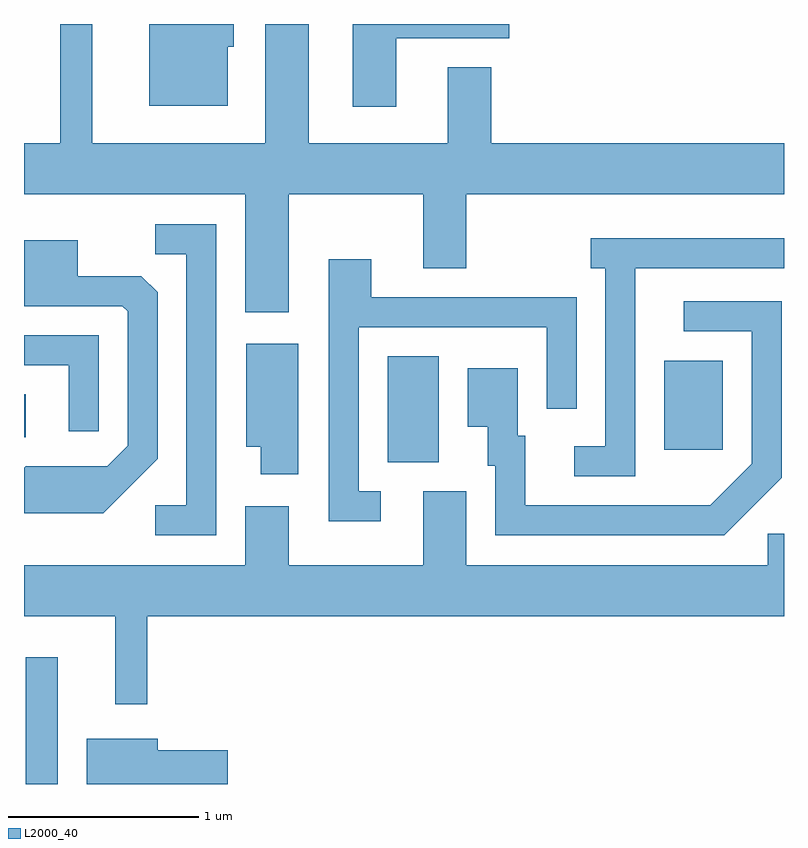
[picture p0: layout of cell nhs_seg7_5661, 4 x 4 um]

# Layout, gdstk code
import gdstk
lib = gdstk.Library(unit=1e-6, precision=1e-09)
def R(c, l, rs):  # rectangles x0, y0, x1, y1
    for r in rs: c.add(gdstk.rectangle(r[:2], r[2:], *l))
def P(c, l, *ps):  # polygons
    for p in ps: c.add(gdstk.Polygon(p, *l))
L2000_40 = (2000, 40)

nhs_seg7_5661 = lib.new_cell('nhs_seg7_5661')
R(nhs_seg7_5661, L2000_40, [(357.621,1782.252,357.789,1782.918), (359.526,1783.946,359.794,1784.504), (360.981,1784.011,361.289,1784.479), (357.611,1784.076,357.619,1784.304)])
P(nhs_seg7_5661, L2000_40, [(359.004,1785.356),(359.711,1785.356),(359.711,1784.966),(359.939,1784.966),(359.939,1785.356),(361.611,1785.356),(361.611,1785.624),(360.069,1785.624),(360.069,1786.024),(359.841,1786.024),(359.841,1785.624),(359.109,1785.624),(359.109,1786.252),(358.881,1786.252),(358.881,1785.624),(357.969,1785.624),(357.969,1786.252),(357.801,1786.252),(357.801,1785.624),(357.611,1785.624),(357.611,1785.356),(358.776,1785.356),(358.776,1784.736),(359.004,1784.736)],
  [(358.684,1786.131),(358.714,1786.131),(358.714,1786.252),(358.271,1786.252),(358.271,1785.821),(358.684,1785.821)],
  [(359.569,1786.176),(360.164,1786.176),(360.164,1786.252),(359.341,1786.252),(359.341,1785.816),(359.569,1785.816)],
  [(358.624,1785.199),(358.303,1785.199),(358.303,1785.041),(358.466,1785.041),(358.466,1783.719),(358.303,1783.719),(358.303,1783.561),(358.624,1783.561)],
  [(360.829,1784.966),(361.611,1784.966),(361.611,1785.124),(360.593,1785.124),(360.593,1784.966),(360.671,1784.966),(360.671,1784.029),(360.508,1784.029),(360.508,1783.871),(360.829,1783.871)],
  [(358.314,1783.964),(358.314,1784.839),(358.229,1784.924),(357.894,1784.924),(357.894,1785.114),(357.611,1785.114),(357.611,1784.766),(358.129,1784.766),(358.156,1784.739),(358.156,1784.032),(358.049,1783.924),(357.619,1783.924),(357.611,1783.916),(357.611,1783.676),(358.027,1783.676)],
  [(359.488,1783.794),(359.374,1783.794),(359.374,1784.656),(360.361,1784.656),(360.361,1784.228),(360.519,1784.228),(360.519,1784.814),(359.439,1784.814),(359.439,1785.014),(359.216,1785.014),(359.216,1783.636),(359.488,1783.636)],
  [(361.599,1783.864),(361.599,1784.794),(361.083,1784.794),(361.083,1784.636),(361.441,1784.636),(361.441,1783.937),(361.224,1783.719),(360.249,1783.719),(360.249,1784.084),(360.209,1784.084),(360.209,1784.439),(359.946,1784.439),(359.946,1784.131),(360.051,1784.131),(360.051,1783.926),(360.091,1783.926),(360.091,1783.561),(361.297,1783.561)],
  [(358.004,1784.614),(357.611,1784.614),(357.611,1784.456),(357.846,1784.456),(357.846,1784.108),(358.004,1784.108)],
  [(359.054,1784.569),(358.781,1784.569),(358.781,1784.026),(358.856,1784.026),(358.856,1783.881),(359.054,1783.881)],
  [(358.259,1783.136),(361.611,1783.136),(361.611,1783.569),(361.526,1783.569),(361.526,1783.404),(359.939,1783.404),(359.939,1783.794),(359.711,1783.794),(359.711,1783.404),(359.004,1783.404),(359.004,1783.714),(358.776,1783.714),(358.776,1783.404),(357.611,1783.404),(357.611,1783.136),(358.091,1783.136),(358.091,1782.673),(358.259,1782.673)],
  [(358.684,1782.429),(358.314,1782.429),(358.314,1782.489),(357.941,1782.489),(357.941,1782.252),(358.684,1782.252)])

lib.write_gds('nhs_seg7_5661.gds')
